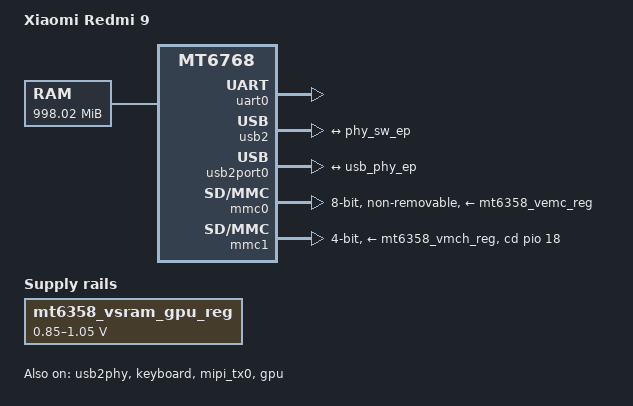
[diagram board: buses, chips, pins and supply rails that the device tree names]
// SPDX-License-Identifier: GPL-2.0-only
/*
 * Common Device Tree Source for Xiaomi Redmi 9
 */

/dts-v1/;

#include <dt-bindings/gpio/gpio.h>
#include <dt-bindings/leds/common.h>
#include <dt-bindings/iio/adc/mediatek,mt6370_adc.h>
#include <dt-bindings/usb/pd.h>
#include "mt6769t.dtsi"
#include "mt6358.dtsi"

/ {
	model = "Xiaomi Redmi 9";
	compatible = "xiaomi,lancelot", "mediatek,mt6769t", "mediatek,mt6768";

	aliases {
		serial0 = &uart0;
	};

	memory@40000000 {
		device_type = "memory";
		reg = <0x0 0x40000000 0x0 0x3e605000>;
	};
};

&mt6358_vdram2_reg {
	regulator-always-on;
};

/* mt6358_vaud28_reg - audio */
/* mt6358_vbif28_reg - bluetooth? */

/* TODO: move to the device dt if this is related to the touchscreen or panel */
&mt6358_vio28_reg {
	regulator-always-on;
};

// I guess
&mt6358_vaux18_reg {
	regulator-always-on;
};

&pmic {
	interrupts-extended = <&pio 144 IRQ_TYPE_LEVEL_HIGH>;
};

&cci {
	proc-supply = <&mt6358_vproc12_reg>;
};

&cpu0 {
	proc-supply = <&mt6358_vproc12_reg>;
};

&cpu1 {
	proc-supply = <&mt6358_vproc12_reg>;
};

&cpu2 {
	proc-supply = <&mt6358_vproc12_reg>;
};

&cpu3 {
	proc-supply = <&mt6358_vproc12_reg>;
};

&cpu4 {
	proc-supply = <&mt6358_vproc12_reg>;
};

&cpu5 {
	proc-supply = <&mt6358_vproc12_reg>;
};

&cpu6 {
	proc-supply = <&mt6358_vproc11_reg>;
};

&cpu7 {
	proc-supply = <&mt6358_vproc11_reg>;
};

&uart0 {
	status = "okay";
};

&usb2 {
	status = "okay";

	// In fact this should be under usb2port0... or no?
	ports {
		#address-cells = <1>;
		#size-cells = <0>;

		port@0 {
			usb2phy_port: endpoint {
				//remote-endpoint = <&usb_typec>;
			};
		};
		port@1 {
			usb_phy_ep: endpoint {
				remote-endpoint = <&phy_sw_ep>;
			};
		};
	};
};

&usb2port0 {
	mediatek,software-role-switch;

	port {
		phy_sw_ep: endpoint {
			remote-endpoint = <&usb_phy_ep>;
		};
	};
};

&usb2phy {
	status = "okay";
};

&keyboard {
	status = "okay";
	pinctrl-names = "default";
	pinctrl-0 = <&keyboard_pins>;
	linux,keymap = <MATRIX_KEY(0x00, 0x00, KEY_VOLUMEDOWN)>;
	keypad,num-rows = <1>;
	keypad,num-columns = <1>;
	debounce-delay-ms = <32>;
};

&mipi_tx0 {
	status = "okay";
};

&mmc0 {
	status = "okay";
	pinctrl-names = "default", "state_uhs";
	pinctrl-0 = <&mmc0_default_pins>;
	pinctrl-1 = <&mmc0_default_pins>;
	bus-width = <8>;
	max-frequency = <200000000>;
	cap-mmc-highspeed;
	mmc-ddr-1_8v;
	mmc-hs200-1_8v;
	mmc-hs400-1_8v;
	cap-mmc-hw-reset;
	no-sdio;
	no-sd;
	non-removable;
	supports-cqe;
	cap-mmc-hw-reset;
	hs400-ds-delay = <0x12814>;
	vmmc-supply = <&mt6358_vemc_reg>;
	vqmmc-supply = <&mt6358_vio18_reg>;
};

&mmc1 {
	status = "okay";
	pinctrl-names = "default", "state_uhs";
	pinctrl-0 = <&mmc1_default_pins>;
	pinctrl-1 = <&mmc1_uhs_pins>;
	bus-width = <4>;
	max-frequency = <200000000>;
	cap-sd-highspeed;
	sd-uhs-sdr12;
	sd-uhs-sdr25;
	sd-uhs-sdr50;
	sd-uhs-sdr104;
	sd-uhs-ddr50;
	no-mmc;
	no-sdio;
	cd-gpios = <&pio 18 GPIO_ACTIVE_HIGH>;
	vmmc-supply = <&mt6358_vmch_reg>;
	vqmmc-suppply = <&mt6358_vmc_reg>;
};

&dsi_out {
	remote-endpoint = <&panel_in>;
};

&gpu {
	status = "okay";
	mali-supply = <&mt6358_vgpu_reg>;
};

&mt6358_vgpu_reg {
	regulator-max-microvolt = <950000>;
	regulator-always-on;
	regulator-boot-on;

	regulator-coupled-with = <&mt6358_vsram_gpu_reg>;
	regulator-coupled-max-spread = <100000>;
};

&mt6358_vsram_gpu_reg {
	regulator-min-microvolt = <850000>;
	regulator-max-microvolt = <1050000>;
	regulator-always-on;
	regulator-boot-on;

	regulator-coupled-with = <&mt6358_vgpu_reg>;
	regulator-coupled-max-spread = <100000>;
};

&mfg_async {
	domain-supply = <&mt6358_vsram_gpu_reg>;
};

&mfg {
	domain-supply = <&mt6358_vgpu_reg>;
};

&pio {
	keyboard_pins: keyboard-pins {
		pins {
			pinmux = <PINMUX_GPIO92__FUNC_KPROW0>,
				 <PINMUX_GPIO93__FUNC_KPCOL0>;
		};
	};

	mmc0_default_pins: mmc0-default-pins {
		pins-clk {
			pinmux = <PINMUX_GPIO124__FUNC_MSDC0_CLK>;
			drive-strength = <MTK_DRIVE_4mA>;
			bias-pull-down = <MTK_PUPD_SET_R1R0_10>;
		};

		pins-cmd-dat {
			pinmux = <PINMUX_GPIO123__FUNC_MSDC0_DAT0>,
				 <PINMUX_GPIO128__FUNC_MSDC0_DAT1>,
				 <PINMUX_GPIO125__FUNC_MSDC0_DAT2>,
				 <PINMUX_GPIO132__FUNC_MSDC0_DAT3>,
				 <PINMUX_GPIO126__FUNC_MSDC0_DAT4>,
				 <PINMUX_GPIO129__FUNC_MSDC0_DAT5>,
				 <PINMUX_GPIO127__FUNC_MSDC0_DAT6>,
				 <PINMUX_GPIO130__FUNC_MSDC0_DAT7>,
				 <PINMUX_GPIO122__FUNC_MSDC0_CMD>;
			input-enable;
			drive-strength = <MTK_DRIVE_4mA>;
			bias-pull-up = <MTK_PUPD_SET_R1R0_01>;
		};

		pins_ds {
			pinmux = <PINMUX_GPIO131__FUNC_MSDC0_DSL>;
			drive-strength = <MTK_DRIVE_4mA>;
		};

		pins-rst {
			pinmux = <PINMUX_GPIO133__FUNC_MSDC0_RSTB>;
			drive-strength = <MTK_DRIVE_6mA>;
			bias-pull-up = <MTK_PUPD_SET_R1R0_01>;
		};
	};

	mmc0_uhs_pins: mmc0-uhs-pins {
		pins-clk {
			pinmux = <PINMUX_GPIO124__FUNC_MSDC0_CLK>;
			drive-strength = <MTK_DRIVE_8mA>;
			bias-pull-down = <MTK_PUPD_SET_R1R0_10>;
		};

		pins-cmd-dat {
			pinmux = <PINMUX_GPIO123__FUNC_MSDC0_DAT0>,
				 <PINMUX_GPIO122__FUNC_MSDC0_CMD>;
			input-enable;
			drive-strength = <MTK_DRIVE_8mA>;
			bias-pull-up = <MTK_PUPD_SET_R1R0_01>;
		};

		pins-ds {
			pinmux = <PINMUX_GPIO131__FUNC_MSDC0_DSL>;
			drive-strength = <MTK_DRIVE_8mA>;
			bias-pull-down = <MTK_PUPD_SET_R1R0_10>;
		};

		pins-rst {
			pinmux = <PINMUX_GPIO133__FUNC_MSDC0_RSTB>;
			drive-strength = <MTK_DRIVE_8mA>;
			bias-pull-up = <MTK_PUPD_SET_R1R0_01>;
		};
	};

	mmc1_default_pins: mmc1-default-pins {
		pins-cmd-dat {
		pinmux = <PINMUX_GPIO164__FUNC_MSDC1_DAT0>,
				 <PINMUX_GPIO163__FUNC_MSDC1_DAT1>,
				 <PINMUX_GPIO162__FUNC_MSDC1_DAT2>,
				 <PINMUX_GPIO161__FUNC_MSDC1_DAT3>,
				 <PINMUX_GPIO170__FUNC_MSDC1_CMD>;
			input-enable;
			drive-strength = <MTK_DRIVE_4mA>;
			bias-pull-up = <MTK_PUPD_SET_R1R0_01>;
		};

		pins-clk {
			pinmux = <PINMUX_GPIO171__FUNC_MSDC1_CLK>;
			drive-strength = <MTK_DRIVE_4mA>;
			bias-pull-down = <MTK_PUPD_SET_R1R0_10>;
		};

		pins-insert {
			pinmux = <PINMUX_GPIO18__FUNC_GPIO18>;
			bias-pull-up;
		};
	};

	mmc1_uhs_pins: mmc1-uhs-pins {
		pins-cmd-dat {
			pinmux = <PINMUX_GPIO164__FUNC_MSDC1_DAT0>,
				 <PINMUX_GPIO163__FUNC_MSDC1_DAT1>,
				 <PINMUX_GPIO162__FUNC_MSDC1_DAT2>,
				 <PINMUX_GPIO161__FUNC_MSDC1_DAT3>,
				 <PINMUX_GPIO170__FUNC_MSDC1_CMD>;
			input-enable;
			drive-strength = <MTK_DRIVE_4mA>;
			bias-pull-up = <MTK_PUPD_SET_R1R0_01>;
		};

		pins-clk {
			pinmux = <PINMUX_GPIO171__FUNC_MSDC1_CLK>;
			drive-strength = <MTK_DRIVE_4mA>;
		};
	};
};

